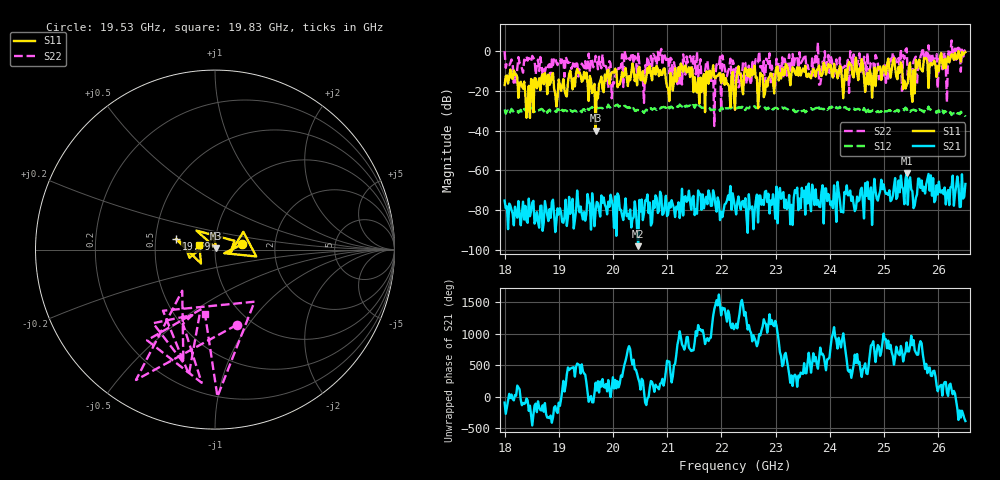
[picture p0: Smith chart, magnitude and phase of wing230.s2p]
!Keysight Technologies,N5242B,MY47200105,A.14.00.23
!Date: Friday, May 10, 2024 11:13:20
!Correction: S11(C  2-Port  )
!S21(C  2-Port  )
!S12(C  2-Port  )
!S22(C  2-Port  )
!S2P File: Measurement: :
# Hz S  RI  R 50
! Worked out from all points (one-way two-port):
!   401 points, 18 GHz to 26.5 GHz, reference 50 ohm
!   highest |S21| = -61.34 dB at 25.42 GHz (marker M1); lowest = -97.9 dB at 20.46 GHz (marker M2)
!   lowest |S11| = -40.0 dB at 19.68 GHz (marker M3), VSWR 1.02, Z = 50.7 + j0.734 ohm
!   |S11| at or under -10 dB: 18.17 GHz to 19.21 GHz (1.04 GHz wide, 5.56 % of centre); 19.35 GHz to 19.9 GHz (547.4 MHz wide, 2.79 % of centre); 21.86 GHz to 22.3 GHz (441.3 MHz wide, 2 % of centre) (the widest 3 of 63)
!   |S22| runs from -37.7 to 5.2 dB; largest |S21 - S12| = 0.047
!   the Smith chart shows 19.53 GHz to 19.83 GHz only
!   S11 on the Smith chart (normalised r, x): 19.53 GHz: 1.35, +0.08; 19.79 GHz: 0.64, +0.08; 19.83 GHz: 0.84, +0.04
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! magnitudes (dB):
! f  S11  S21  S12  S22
! 18 GHz  -17.2  -75.1  -29.4  -0.2
! 18.19 GHz  -12.2  -78.2  -30.8  -10.8
! 18.43 GHz  -28.1  -86.3  -30.2  -4.9
! 18.72 GHz  -16.8  -86.1  -30.4  -9.3
! 18.96 GHz  -28.0  -85.4  -30.7  -6.0
! 19.42 GHz  -15.6  -82.0  -30.8  -6.4
! 19.53 GHz  -16.3  -71.8  -29.1  -7.2
! 19.68 GHz  -40.0  -80.4  -27.9  -2.5
! 19.79 GHz  -12.9  -72.5  -28.6  -8.8
! 19.83 GHz  -20.8  -73.5  -28.0  -8.8
! 20.02 GHz  -11.0  -88.8  -28.2  -16.4
! 20.25 GHz  -13.2  -82.9  -28.4  -4.1
! 20.46 GHz  -9.1  -97.9  -29.8  -0.8
! 20.85 GHz  -12.7  -80.3  -28.7  -4.5
! 21.23 GHz  -12.7  -83.8  -27.0  -17.6
! 21.4 GHz  -8.3  -70.1  -27.5  -4.2
! 21.85 GHz  -7.2  -69.9  -29.5  -8.9
! 22.25 GHz  -29.6  -78.5  -28.3  -16.1
! 23.67 GHz  -10.7  -67.1  -29.5  -3.8
! 25.1 GHz  -9.0  -69.9  -29.8  -6.1
! 25.42 GHz  -17.2  -61.3  -29.1  1.2
! 26.5 GHz  -0.7  -66.8  -33.0  0.5
